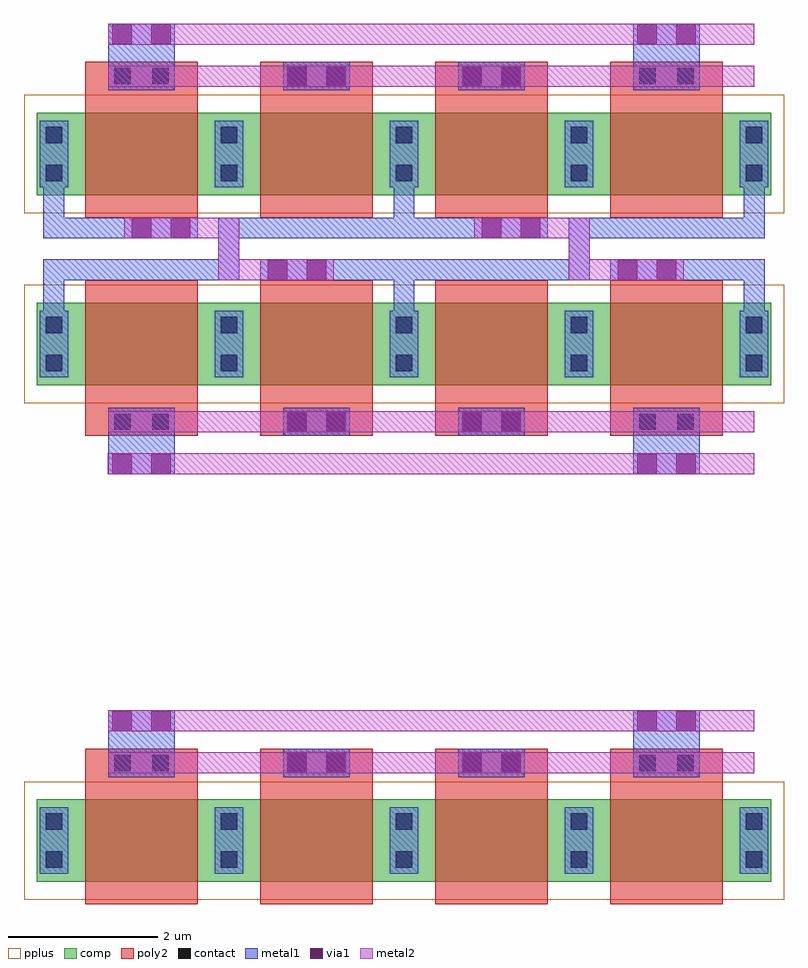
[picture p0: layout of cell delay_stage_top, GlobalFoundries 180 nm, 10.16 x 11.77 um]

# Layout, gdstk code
import gdstk
lib = gdstk.Library(unit=1e-6, precision=5e-09)
def R(c, l, rs):  # rectangles x0, y0, x1, y1
    for r in rs: c.add(gdstk.rectangle(r[:2], r[2:], *l))
def A(c, l, x, y, w, h, nx, ny, dx, dy):  # array of equal rectangles
    R(c, l, [(x+i*dx, y+j*dy, x+i*dx+w, y+j*dy+h) for i in range(nx) for j in range(ny)])
comp = (22, 0)
poly2 = (30, 0)
pplus = (31, 0)
contact = (33, 0)
metal1 = (34, 0)
via1 = (35, 0)
metal2 = (36, 0)

delay_stage_pcell_1_1_1 = lib.new_cell('delay_stage_pcell_1$1$1')
R(delay_stage_pcell_1_1_1, comp, [(0.17,0.3,0.63,1.4), (0.63,0.3,2.51,1.4), (2.51,0.3,2.97,1.4)])
R(delay_stage_pcell_1_1_1, poly2, [(0.82,0,2.32,1.7)])
R(delay_stage_pcell_1_1_1, pplus, [(0,0.06,3.14,1.64)])
R(delay_stage_pcell_1_1_1, contact, [(0.29,0.485,0.51,0.705), (2.63,0.485,2.85,0.705), (0.29,0.995,0.51,1.215), (2.63,0.995,2.85,1.215)])
R(delay_stage_pcell_1_1_1, metal1, [(0.21,0.405,0.59,1.295), (2.55,0.405,2.93,1.295)])

delay_stage_pcell_4_1 = lib.new_cell('delay_stage_pcell_4$1')
delay_stage_pcell_4_1.add(gdstk.Reference(delay_stage_pcell_1_1_1, (0,0)))
delay_stage_pcell_4_1.add(gdstk.Reference(delay_stage_pcell_1_1_1, (2.34,0)))
delay_stage_pcell_4_1.add(gdstk.Reference(delay_stage_pcell_1_1_1, (4.68,0)))
delay_stage_pcell_4_1.add(gdstk.Reference(delay_stage_pcell_1_1_1, (7.02,0)))

delay_stage_pcell_4_2 = lib.new_cell('delay_stage_pcell_4_2')
A(delay_stage_pcell_4_2, poly2, 0.82, 0.51, 1.5, 0.38, 4, 2, 2.34, 4.62)
R(delay_stage_pcell_4_2, contact, [(1.205,0.59,1.425,0.81), (1.715,0.59,1.935,0.81), (3.545,0.59,3.765,0.81), (4.055,0.59,4.275,0.81), (5.885,0.59,6.105,0.81), (6.395,0.59,6.615,0.81), (8.225,0.59,8.445,0.81), (8.735,0.59,8.955,0.81), (1.205,5.21,1.425,5.43), (1.715,5.21,1.935,5.43), (3.545,5.21,3.765,5.43), (4.055,5.21,4.275,5.43), (5.885,5.21,6.105,5.43), (6.395,5.21,6.615,5.43), (8.225,5.21,8.445,5.43), (8.735,5.21,8.955,5.43)])
R(delay_stage_pcell_4_2, metal1, [(1.125,0,2.015,0.89), (8.145,0,9.035,0.89), (3.465,0.51,4.355,0.89), (5.805,0.51,6.695,0.89), (1.125,5.13,2.015,6.02), (3.465,5.13,4.355,5.51), (5.805,5.13,6.695,5.51), (8.145,5.13,9.035,6.02)])
R(delay_stage_pcell_4_2, via1, [(1.18,0.01,1.44,0.27), (1.7,0.01,1.96,0.27), (8.2,0.01,8.46,0.27), (8.72,0.01,8.98,0.27), (3.52,0.57,3.78,0.83), (4.04,0.57,4.3,0.83), (5.86,0.57,6.12,0.83), (6.38,0.57,6.64,0.83), (3.26,2.6,3.52,2.86), (3.78,2.6,4.04,2.86), (7.94,2.6,8.2,2.86), (8.46,2.6,8.72,2.86), (1.44,3.16,1.7,3.42), (1.96,3.16,2.22,3.42), (6.12,3.16,6.38,3.42), (6.64,3.16,6.9,3.42), (3.52,5.19,3.78,5.45), (4.04,5.19,4.3,5.45), (5.86,5.19,6.12,5.45), (6.38,5.19,6.64,5.45), (1.18,5.75,1.44,6.01), (1.7,5.75,1.96,6.01), (8.2,5.75,8.46,6.01), (8.72,5.75,8.98,6.01)])
delay_stage_pcell_4_2.add(gdstk.FlexPath([(0.4,3.835),(0.4,3.29),(1.34,3.29)], 0.28, ends="flush", simple_path=True, layer=34, datatype=0))  # metal1
delay_stage_pcell_4_2.add(gdstk.FlexPath([(0.4,2.185),(0.4,2.73),(1.34,2.73)], 0.28, ends="flush", simple_path=True, layer=34, datatype=0))  # metal1
delay_stage_pcell_4_2.add(gdstk.FlexPath([(5.08,2.185),(5.08,2.59)], 0.28, ends="flush", simple_path=True, layer=34, datatype=0))  # metal1
delay_stage_pcell_4_2.add(gdstk.FlexPath([(5.08,3.835),(5.08,3.43)], 0.28, ends="flush", simple_path=True, layer=34, datatype=0))  # metal1
delay_stage_pcell_4_2.add(gdstk.FlexPath([(8.82,3.29),(9.76,3.29),(9.76,3.835)], 0.28, ends="flush", simple_path=True, layer=34, datatype=0))  # metal1
delay_stage_pcell_4_2.add(gdstk.FlexPath([(9.76,2.185),(9.76,2.73),(8.82,2.73)], 0.28, ends="flush", simple_path=True, layer=34, datatype=0))  # metal1
delay_stage_pcell_4_2.add(gdstk.FlexPath([(1.34,2.73),(2.74,2.73),(2.74,3.29),(4.14,3.29)], 0.28, ends="flush", simple_path=True, layer=34, datatype=0))  # metal1
delay_stage_pcell_4_2.add(gdstk.FlexPath([(6.02,2.73),(7.42,2.73),(7.42,3.29),(8.82,3.29)], 0.28, ends="flush", simple_path=True, layer=34, datatype=0))  # metal1
delay_stage_pcell_4_2.add(gdstk.FlexPath([(7.84,2.73),(8.82,2.73)], 0.28, ends="flush", simple_path=True, layer=34, datatype=0))  # metal1
delay_stage_pcell_4_2.add(gdstk.FlexPath([(6.02,3.29),(7,3.29)], 0.28, ends="flush", simple_path=True, layer=34, datatype=0))  # metal1
delay_stage_pcell_4_2.add(gdstk.FlexPath([(1.34,3.29),(2.32,3.29)], 0.28, ends="flush", simple_path=True, layer=34, datatype=0))  # metal1
delay_stage_pcell_4_2.add(gdstk.FlexPath([(3.16,2.73),(4.14,2.73)], 0.28, ends="flush", simple_path=True, layer=34, datatype=0))  # metal1
delay_stage_pcell_4_2.add(gdstk.FlexPath([(6.02,2.73),(4.14,2.73)], 0.28, ends="flush", simple_path=True, layer=34, datatype=0))  # metal1
delay_stage_pcell_4_2.add(gdstk.FlexPath([(6.02,3.29),(4.14,3.29)], 0.28, ends="flush", simple_path=True, layer=34, datatype=0))  # metal1
delay_stage_pcell_4_2.add(gdstk.FlexPath([(1.125,0.7),(9.76,0.7)], 0.28, ends="flush", simple_path=True, layer=36, datatype=0))  # metal2
delay_stage_pcell_4_2.add(gdstk.FlexPath([(1.125,5.32),(9.76,5.32)], 0.28, ends="flush", simple_path=True, layer=36, datatype=0))  # metal2
delay_stage_pcell_4_2.add(gdstk.FlexPath([(1.125,5.88),(9.76,5.88)], 0.28, ends="flush", simple_path=True, layer=36, datatype=0))  # metal2
delay_stage_pcell_4_2.add(gdstk.FlexPath([(1.12,0.14),(9.76,0.14)], 0.28, ends="flush", simple_path=True, layer=36, datatype=0))  # metal2
delay_stage_pcell_4_2.add(gdstk.FlexPath([(1.34,3.29),(2.74,3.29),(2.74,2.73),(4.14,2.73)], 0.28, ends="flush", simple_path=True, layer=36, datatype=0))  # metal2
delay_stage_pcell_4_2.add(gdstk.FlexPath([(6.02,3.29),(7.42,3.29),(7.42,2.73),(8.82,2.73)], 0.28, ends="flush", simple_path=True, layer=36, datatype=0))  # metal2
delay_stage_pcell_4_2.add(gdstk.Reference(delay_stage_pcell_4_1, (0,3.43)))
delay_stage_pcell_4_2.add(gdstk.Reference(delay_stage_pcell_4_1, (0,2.59), x_reflection=True))

delay_stage_pcell_1_1 = lib.new_cell('delay_stage_pcell_1$1')
R(delay_stage_pcell_1_1, comp, [(0.17,0.3,0.63,1.4), (0.63,0.3,2.51,1.4), (2.51,0.3,2.97,1.4)])
R(delay_stage_pcell_1_1, poly2, [(0.82,0,2.32,1.7)])
R(delay_stage_pcell_1_1, pplus, [(0,0.06,3.14,1.64)])
R(delay_stage_pcell_1_1, contact, [(0.29,0.485,0.51,0.705), (2.63,0.485,2.85,0.705), (0.29,0.995,0.51,1.215), (2.63,0.995,2.85,1.215)])
R(delay_stage_pcell_1_1, metal1, [(0.21,0.405,0.59,1.295), (2.55,0.405,2.93,1.295)])

delay_stage_pcell_4 = lib.new_cell('delay_stage_pcell_4')
delay_stage_pcell_4.add(gdstk.Reference(delay_stage_pcell_1_1, (0,0)))
delay_stage_pcell_4.add(gdstk.Reference(delay_stage_pcell_1_1, (2.34,0)))
delay_stage_pcell_4.add(gdstk.Reference(delay_stage_pcell_1_1, (4.68,0)))
delay_stage_pcell_4.add(gdstk.Reference(delay_stage_pcell_1_1, (7.02,0)))

delay_stage_top = lib.new_cell('delay_stage_top')
A(delay_stage_top, poly2, 0.82, -4.055, 1.5, 0.38, 4, 1, 2.34, 0)
R(delay_stage_top, contact, [(1.205,-3.975,1.425,-3.755), (1.715,-3.975,1.935,-3.755), (3.545,-3.975,3.765,-3.755), (4.055,-3.975,4.275,-3.755), (5.885,-3.975,6.105,-3.755), (6.395,-3.975,6.615,-3.755), (8.225,-3.975,8.445,-3.755), (8.735,-3.975,8.955,-3.755)])
R(delay_stage_top, metal1, [(1.125,-4.055,2.015,-3.165), (3.465,-4.055,4.355,-3.675), (5.805,-4.055,6.695,-3.675), (8.145,-4.055,9.035,-3.165)])
R(delay_stage_top, via1, [(3.52,-3.995,3.78,-3.735), (4.04,-3.995,4.3,-3.735), (5.86,-3.995,6.12,-3.735), (6.38,-3.995,6.64,-3.735), (1.18,-3.435,1.44,-3.175), (1.7,-3.435,1.96,-3.175), (8.2,-3.435,8.46,-3.175), (8.72,-3.435,8.98,-3.175)])
delay_stage_top.add(gdstk.FlexPath([(1.125,-3.865),(9.76,-3.865)], 0.28, ends="flush", simple_path=True, layer=36, datatype=0))  # metal2
delay_stage_top.add(gdstk.FlexPath([(1.125,-3.305),(9.76,-3.305)], 0.28, ends="flush", simple_path=True, layer=36, datatype=0))  # metal2
delay_stage_top.add(gdstk.Reference(delay_stage_pcell_4_2, (0,-0.005)))
delay_stage_top.add(gdstk.Reference(delay_stage_pcell_4, (0,-5.755)))

lib.write_gds('delay_stage_top.gds')
